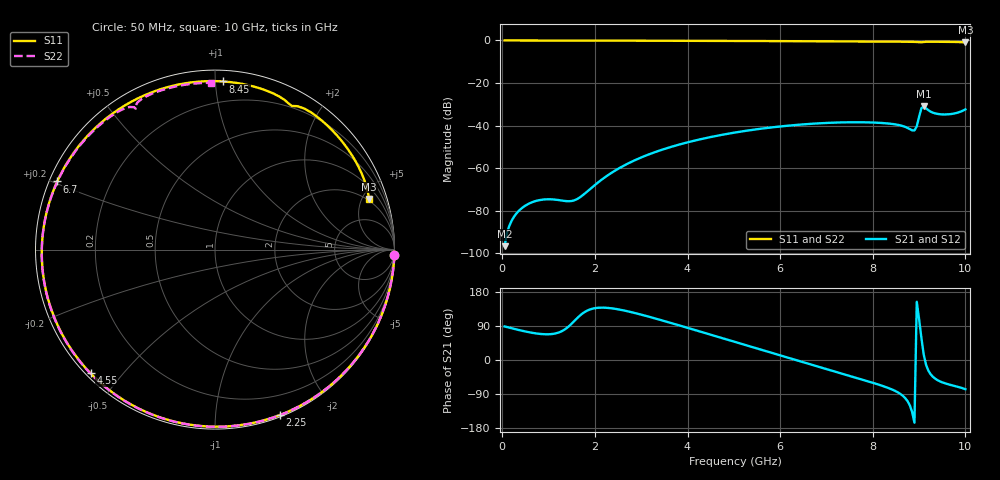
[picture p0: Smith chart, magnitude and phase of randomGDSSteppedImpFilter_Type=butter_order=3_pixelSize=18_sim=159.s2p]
! freq	dB(S11)	phase(S11)	dB(S12)	phase(S12)
!  dB(S21)	phase(S21)	dB(S22)	phase(S22)
!S-par simulation data
#  GHz  S  DB  R 50
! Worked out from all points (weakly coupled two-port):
!   200 points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, 50 MHz to 10 GHz, reference 50 ohm
!   highest |S21| = -30.98 dB at 9.1 GHz (marker M1); lowest = -96.6 dB at 50 MHz (marker M2)
!   lowest |S11| = -0.9 dB at 10 GHz (marker M3), VSWR 19.74, Z = 92.1 + j283 ohm
!   |S11| at or under -10 dB: nowhere
!   |S22| runs from -0.9 to 0.0 dB; largest |S21 - S12| = 0
!   S11 on the Smith chart (normalised r, x): 50 MHz: 0, -73; 2.25 GHz: 0.02, -1.47; 4.55 GHz: 0.01, -0.41; 6.7 GHz: 0.02, +0.21; 8.45 GHz: 0.07, +1.05; 10 GHz: 1.84, +5.66
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0.05  -0.00 -1.6  -96.60 88.5  -96.60 88.5  -0.00 -1.6
0.35  -0.02 -10.9  -80.15 79.3  -80.15 79.3  -0.02 -11.2
0.85  -0.03 -26.4  -74.79 68.4  -74.79 68.4  -0.03 -27.1
1.5  -0.06 -46.2  -75.37 96.1  -75.37 96.1  -0.06 -47.2
1.75  -0.07 -53.7  -72.47 124.3  -72.47 124.3  -0.07 -54.7
2.25  -0.09 -68.5  -63.73 137.8  -63.73 137.8  -0.09 -69.2
2.75  -0.11 -83.2  -57.39 127.3  -57.39 127.3  -0.10 -83.3
3.4  -0.13 -101.9  -51.67 106.2  -51.67 106.2  -0.13 -100.7
4.55  -0.20 -135.2  -45.13 65.0  -45.13 65.0  -0.17 -129.6
5.05  -0.23 -150.0  -43.14 46.8  -43.14 46.8  -0.20 -141.6
5.9  -0.30 -176.4  -40.62 15.8  -40.62 15.8  -0.25 -161.6
6.7  -0.38 156.7  -39.09 -13.2  -39.09 -13.2  -0.31 179.4
7.6  -0.47 122.8  -38.40 -45.5  -38.40 -45.5  -0.39 157.5
8.35  -0.55 91.6  -39.03 -74.5  -39.03 -74.5  -0.46 138.1
8.45  -0.56 87.3  -39.30 -79.7  -39.30 -79.7  -0.47 135.4
8.9  -0.68 67.2  -42.25 -165.4  -42.25 -165.4  -0.60 122.5
8.95  -0.73 65.0  -40.28 153.7  -40.28 153.7  -0.67 120.9
9.05  -0.84 61.8  -31.82 58.5  -31.82 58.5  -0.91 119.4
9.1  -0.71 60.1  -30.98 14.4  -30.98 14.4  -0.78 119.1
9.3  -0.60 50.4  -33.93 -44.5  -33.93 -44.5  -0.57 112.8
9.5  -0.63 41.2  -34.73 -58.9  -34.73 -58.9  -0.57 106.6
10  -0.88 18.2  -32.38 -77.2  -32.38 -77.2  -0.64 91.2
